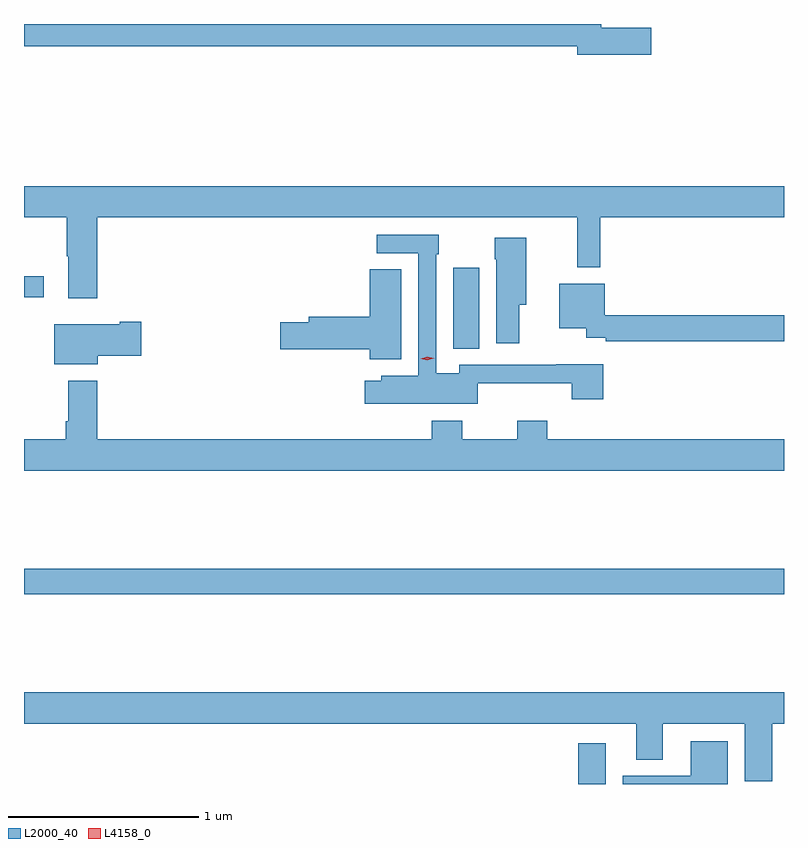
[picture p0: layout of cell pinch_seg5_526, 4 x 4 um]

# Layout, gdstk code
import gdstk
lib = gdstk.Library(unit=1e-6, precision=1e-09)
def R(c, l, rs):  # rectangles x0, y0, x1, y1
    for r in rs: c.add(gdstk.rectangle(r[:2], r[2:], *l))
def P(c, l, *ps):  # polygons
    for p in ps: c.add(gdstk.Polygon(p, *l))
L2000_40 = (2000, 40)
L4158_0 = (4158, 0)

pinch_seg5_526 = lib.new_cell('pinch_seg5_526')
R(pinch_seg5_526, L2000_40, [(965.438,847.118,965.584,847.333), (962.521,848.116,966.521,848.252), (964.781,849.409,964.918,849.835), (962.521,849.68,962.626,849.79)])
P(pinch_seg5_526, L2000_40, [(965.821,851.097),(965.56,851.097),(965.56,851.118),(962.521,851.118),(962.521,851.002),(965.432,851.002),(965.432,850.955),(965.821,850.955)],
  [(962.906,850.1),(965.434,850.1),(965.434,849.837),(965.555,849.837),(965.555,850.1),(966.521,850.1),(966.521,850.264),(962.521,850.264),(962.521,850.1),(962.746,850.1),(962.746,849.896),(962.753,849.896),(962.753,849.675),(962.906,849.675)],
  [(964.908,849.227),(965.405,849.227),(965.405,849.144),(965.57,849.144),(965.57,849.326),(965.321,849.326),(965.321,849.324),(964.812,849.324),(964.812,849.28),(964.692,849.28),(964.692,849.905),(964.705,849.905),(964.705,850.008),(964.377,850.008),(964.377,849.912),(964.596,849.912),(964.596,849.268),(964.401,849.268),(964.401,849.241),(964.314,849.241),(964.314,849.119),(964.908,849.119)],
  [(965.128,849.641),(965.164,849.641),(965.164,849.994),(964.999,849.994),(964.999,849.881),(965.006,849.881),(965.006,849.438),(965.128,849.438)],
  [(964.507,849.827),(964.34,849.827),(964.34,849.578),(964.019,849.578),(964.019,849.548),(963.87,849.548),(963.87,849.406),(964.34,849.406),(964.34,849.353),(964.507,849.353)],
  [(966.521,849.584),(965.577,849.584),(965.577,849.751),(965.339,849.751),(965.339,849.518),(965.481,849.518),(965.481,849.467),(965.584,849.467),(965.584,849.448),(966.521,849.448)],
  [(962.908,849.373),(963.139,849.373),(963.139,849.551),(963.026,849.551),(963.026,849.538),(962.681,849.538),(962.681,849.326),(962.908,849.326)],
  [(966.521,848.932),(965.276,848.932),(965.276,849.031),(965.116,849.031),(965.116,848.932),(964.827,848.932),(964.827,849.031),(964.667,849.031),(964.667,848.932),(962.906,848.932),(962.906,849.241),(962.753,849.241),(962.753,849.028),(962.741,849.028),(962.741,848.932),(962.521,848.932),(962.521,848.768),(966.521,848.768)],
  [(966.458,847.436),(966.521,847.436),(966.521,847.6),(962.521,847.6),(962.521,847.436),(965.744,847.436),(965.744,847.246),(965.884,847.246),(965.884,847.436),(966.314,847.436),(966.314,847.132),(966.458,847.132)],
  [(966.225,847.342),(966.029,847.342),(966.029,847.161),(965.673,847.161),(965.673,847.118),(966.225,847.118)])
P(pinch_seg5_526, L4158_0, [(964.644,849.347),(964.61,849.356),(964.609,849.356),(964.61,849.357),(964.644,849.367),(964.678,849.358),(964.679,849.358),(964.678,849.358)])

lib.write_gds('pinch_seg5_526.gds')
